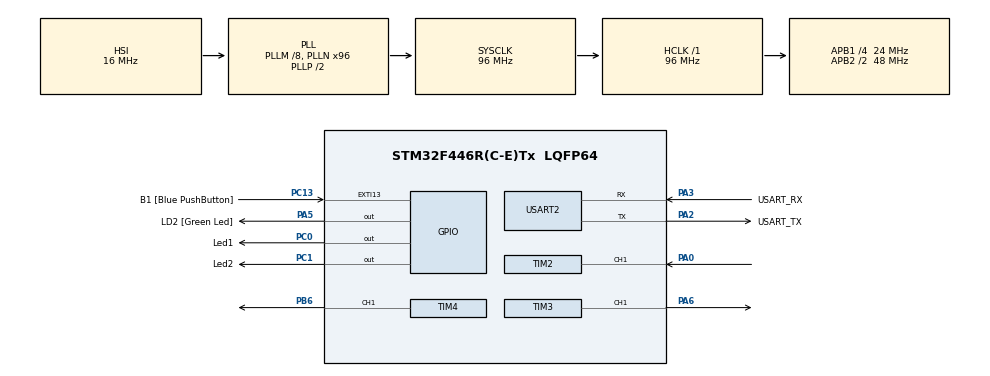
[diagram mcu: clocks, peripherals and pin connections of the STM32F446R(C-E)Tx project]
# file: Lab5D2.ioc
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Mcu.Family=STM32F4
Mcu.Name=STM32F446R(C-E)Tx
Mcu.Package=LQFP64
NVIC.PriorityGroup=NVIC_PRIORITYGROUP_0
NVIC.TIM2_IRQn=true\:0\:0\:false\:false\:true\:true\:true\:true
NVIC.TIM3_IRQn=true\:0\:0\:false\:false\:true\:true\:true\:true
NVIC.TIM4_IRQn=true\:0\:0\:false\:false\:true\:true\:true\:true
PA0-WKUP.Signal=S_TIM2_CH1_ETR
PA13.GPIO_Label=TMS
PA13.Mode=Serial_Wire
PA13.Signal=SYS_JTMS-SWDIO
PA14.GPIO_Label=TCK
PA14.Mode=Serial_Wire
PA14.Signal=SYS_JTCK-SWCLK
PA2.GPIO_Label=USART_TX
PA2.Mode=Asynchronous
PA2.Signal=USART2_TX
PA3.GPIO_Label=USART_RX
PA3.Mode=Asynchronous
PA3.Signal=USART2_RX
PA5.GPIO_Label=LD2 [Green Led]
PA5.Signal=GPIO_Output
PA6.Signal=S_TIM3_CH1
PB3.GPIO_Label=SWO
PB3.Signal=SYS_JTDO-SWO
PB6.Signal=S_TIM4_CH1
PC0.GPIO_Label=Led1
PC0.Signal=GPIO_Output
PC1.GPIO_Label=Led2
PC1.Signal=GPIO_Output
PC13.GPIO_Label=B1 [Blue PushButton]
PC13.GPIO_ModeDefaultEXTI=GPIO_MODE_IT_FALLING
PC13.Signal=GPXTI13
PC14-OSC32_IN.Mode=LSE-External-Oscillator
PC14-OSC32_IN.Signal=RCC_OSC32_IN
PC15-OSC32_OUT.Mode=LSE-External-Oscillator
PC15-OSC32_OUT.Signal=RCC_OSC32_OUT
PH0-OSC_IN.Mode=HSE-External-Oscillator
PH0-OSC_IN.Signal=RCC_OSC_IN
PH1-OSC_OUT.Mode=HSE-External-Oscillator
PH1-OSC_OUT.Signal=RCC_OSC_OUT
ProjectManager.HeapSize=0x200
ProjectManager.StackSize=0x400
ProjectManager.TargetToolchain=STM32CubeIDE
RCC.48MHZClocksFreq_Value=84000000
RCC.AHBFreq_Value=96000000
RCC.APB1CLKDivider=RCC_HCLK_DIV4
RCC.APB1Freq_Value=24000000
RCC.APB1TimFreq_Value=48000000
RCC.APB2CLKDivider=RCC_HCLK_DIV2
RCC.APB2Freq_Value=48000000
RCC.APB2TimFreq_Value=96000000
RCC.CortexFreq_Value=96000000
RCC.FLatency-AdvancedSettings=FLASH_LATENCY_3
RCC.HCLKFreq_Value=96000000
RCC.HSE_VALUE=8000000
RCC.HSI_VALUE=16000000
RCC.PLLM=8
RCC.PLLN=96
RCC.SYSCLKFreq_VALUE=96000000
RCC.SYSCLKSource=RCC_SYSCLKSOURCE_PLLCLK
RCC.USBFreq_Value=96000000
RCC.VCOOutputFreq_Value=192000000
SH.S_TIM2_CH1_ETR.0=TIM2_CH1,Input_Capture1_from_TI1
SH.S_TIM3_CH1.0=TIM3_CH1,PWM Generation1 CH1
SH.S_TIM4_CH1.0=TIM4_CH1,PWM Generation1 CH1
TIM2.Channel-Input_Capture1_from_TI1=TIM_CHANNEL_1
TIM2.CounterMode=TIM_COUNTERMODE_UP
TIM2.Prescaler=48-1
TIM3.AutoReloadPreload=TIM_AUTORELOAD_PRELOAD_ENABLE
TIM3.Channel-PWM\ Generation1\ CH1=TIM_CHANNEL_1
TIM3.Period=4999
TIM3.Prescaler=4799
TIM3.Pulse-PWM\ Generation1\ CH1=2500
TIM4.AutoReloadPreload=TIM_AUTORELOAD_PRELOAD_ENABLE
TIM4.Channel-PWM\ Generation1\ CH1=TIM_CHANNEL_1
TIM4.Period=19999
TIM4.Prescaler=4799
TIM4.Pulse-PWM\ Generation1\ CH1=10000
USART2.VirtualMode=VM_ASYNC
VP_TIM2_VS_ClockSourceINT.Mode=Internal
VP_TIM3_VS_ClockSourceINT.Mode=Internal
VP_TIM4_VS_ClockSourceINT.Mode=Internal
board=NUCLEO-F446RE

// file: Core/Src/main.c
/* USER CODE BEGIN Header */
/**
  ******************************************************************************
  * @file           : main.c
  * @brief          : Main program body
  ******************************************************************************
  * @attention
  *
  * Copyright (c) 2026 STMicroelectronics.
  * All rights reserved.
  *
  * This software is licensed under terms that can be found in the LICENSE file
  * in the root directory of this software component.
  * If no LICENSE file comes with this software, it is provided AS-IS.
  *
  ******************************************************************************
  */
/* USER CODE END Header */
#include "main.h"

/* USER CODE BEGIN Includes */
#include <stdio.h>
#include <string.h>
/* USER CODE END Includes */

/* USER CODE BEGIN PTD */
#define ftimclk 1000000
/* USER CODE END PTD */

TIM_HandleTypeDef htim2;
TIM_HandleTypeDef htim3;
TIM_HandleTypeDef htim4;

UART_HandleTypeDef huart2;

/* USER CODE BEGIN PV */
uint8_t flagMedicion = 0;
volatile uint32_t flanco1 = 0;
volatile uint32_t flanco2 = 0;
volatile uint8_t numFlanco = 0;

volatile uint32_t delta = 0;
float frecuencia = 0;
uint32_t clk = 1000000;

uint8_t buffer[10];
uint8_t dt = 80;
uint8_t datA[20];

/* USER CODE END PV */

void SystemClock_Config(void);
static void MX_GPIO_Init(void);
static void MX_TIM2_Init(void);
static void MX_USART2_UART_Init(void);
static void MX_TIM3_Init(void);
static void MX_TIM4_Init(void);

int main(void)
{

  /* MCU Configuration--------------------------------------------------------*/

  /* Reset of all peripherals, Initializes the Flash interface and the Systick. */
  HAL_Init();

  /* Configure the system clock */
  SystemClock_Config();

  /* Initialize all configured peripherals */
  MX_GPIO_Init();
  MX_TIM2_Init();
  MX_USART2_UART_Init();
  MX_TIM3_Init();
  MX_TIM4_Init();
  /* USER CODE BEGIN 2 */
  HAL_TIM_IC_Start_IT(&htim2, TIM_CHANNEL_1);
  HAL_TIM_PWM_Start(&htim3, TIM_CHANNEL_1);
  HAL_TIM_PWM_Start(&htim4, TIM_CHANNEL_1);
  /* USER CODE END 2 */

  /* Infinite loop */
  /* USER CODE BEGIN WHILE */
  while (1)
  {

	  	  while(flagMedicion == 0);
	  	  flagMedicion = 0;
	  	  delta = flanco2 - flanco1;
	  	  frecuencia = clk /(float) delta;

	  	  sprintf(datA, "%f\n",frecuencia);
	  	  HAL_UART_Transmit(&huart2, datA,strlen(datA),1000);
	  	  HAL_TIM_IC_Start_IT(&htim2, TIM_CHANNEL_1);

    /* USER CODE END WHILE */

  }
}

void SystemClock_Config(void)
{
  RCC_OscInitTypeDef RCC_OscInitStruct = {0};
  RCC_ClkInitTypeDef RCC_ClkInitStruct = {0};

  /** Configure the main internal regulator output voltage
  */
  __HAL_RCC_PWR_CLK_ENABLE();
  __HAL_PWR_VOLTAGESCALING_CONFIG(PWR_REGULATOR_VOLTAGE_SCALE3);

  /** Initializes the RCC Oscillators according to the specified parameters
  * in the RCC_OscInitTypeDef structure.
  */
  RCC_OscInitStruct.OscillatorType = RCC_OSCILLATORTYPE_HSI;
  RCC_OscInitStruct.HSIState = RCC_HSI_ON;
  RCC_OscInitStruct.HSICalibrationValue = RCC_HSICALIBRATION_DEFAULT;
  RCC_OscInitStruct.PLL.PLLState = RCC_PLL_ON;
  RCC_OscInitStruct.PLL.PLLSource = RCC_PLLSOURCE_HSI;
  RCC_OscInitStruct.PLL.PLLM = 8;
  RCC_OscInitStruct.PLL.PLLN = 96;
  RCC_OscInitStruct.PLL.PLLP = RCC_PLLP_DIV2;
  RCC_OscInitStruct.PLL.PLLQ = 2;
  RCC_OscInitStruct.PLL.PLLR = 2;
  if (HAL_RCC_OscConfig(&RCC_OscInitStruct) != HAL_OK)
  {
    Error_Handler();
  }

  /** Initializes the CPU, AHB and APB buses clocks
  */
  RCC_ClkInitStruct.ClockType = RCC_CLOCKTYPE_HCLK|RCC_CLOCKTYPE_SYSCLK
                              |RCC_CLOCKTYPE_PCLK1|RCC_CLOCKTYPE_PCLK2;
  RCC_ClkInitStruct.SYSCLKSource = RCC_SYSCLKSOURCE_PLLCLK;
  RCC_ClkInitStruct.AHBCLKDivider = RCC_SYSCLK_DIV1;
  RCC_ClkInitStruct.APB1CLKDivider = RCC_HCLK_DIV4;
  RCC_ClkInitStruct.APB2CLKDivider = RCC_HCLK_DIV2;

  if (HAL_RCC_ClockConfig(&RCC_ClkInitStruct, FLASH_LATENCY_3) != HAL_OK)
  {
    Error_Handler();
  }
}

static void MX_TIM2_Init(void)
{

  TIM_ClockConfigTypeDef sClockSourceConfig = {0};
  TIM_MasterConfigTypeDef sMasterConfig = {0};
  TIM_IC_InitTypeDef sConfigIC = {0};

  htim2.Instance = TIM2;
  htim2.Init.Prescaler = 48-1;
  htim2.Init.CounterMode = TIM_COUNTERMODE_UP;
  htim2.Init.Period = 4294967295;
  htim2.Init.ClockDivision = TIM_CLOCKDIVISION_DIV1;
  htim2.Init.AutoReloadPreload = TIM_AUTORELOAD_PRELOAD_DISABLE;
  if (HAL_TIM_Base_Init(&htim2) != HAL_OK)
  {
    Error_Handler();
  }
  sClockSourceConfig.ClockSource = TIM_CLOCKSOURCE_INTERNAL;
  if (HAL_TIM_ConfigClockSource(&htim2, &sClockSourceConfig) != HAL_OK)
  {
    Error_Handler();
  }
  if (HAL_TIM_IC_Init(&htim2) != HAL_OK)
  {
    Error_Handler();
  }
  sMasterConfig.MasterOutputTrigger = TIM_TRGO_RESET;
  sMasterConfig.MasterSlaveMode = TIM_MASTERSLAVEMODE_DISABLE;
  if (HAL_TIMEx_MasterConfigSynchronization(&htim2, &sMasterConfig) != HAL_OK)
  {
    Error_Handler();
  }
  sConfigIC.ICPolarity = TIM_INPUTCHANNELPOLARITY_RISING;
  sConfigIC.ICSelection = TIM_ICSELECTION_DIRECTTI;
  sConfigIC.ICPrescaler = TIM_ICPSC_DIV1;
  sConfigIC.ICFilter = 0;
  if (HAL_TIM_IC_ConfigChannel(&htim2, &sConfigIC, TIM_CHANNEL_1) != HAL_OK)
  {
    Error_Handler();
  }

}

static void MX_TIM3_Init(void)
{

  TIM_ClockConfigTypeDef sClockSourceConfig = {0};
  TIM_MasterConfigTypeDef sMasterConfig = {0};
  TIM_OC_InitTypeDef sConfigOC = {0};

  htim3.Instance = TIM3;
  htim3.Init.Prescaler = 4799;
  htim3.Init.CounterMode = TIM_COUNTERMODE_UP;
  htim3.Init.Period = 4999;
  htim3.Init.ClockDivision = TIM_CLOCKDIVISION_DIV1;
  htim3.Init.AutoReloadPreload = TIM_AUTORELOAD_PRELOAD_ENABLE;
  if (HAL_TIM_Base_Init(&htim3) != HAL_OK)
  {
    Error_Handler();
  }
  sClockSourceConfig.ClockSource = TIM_CLOCKSOURCE_INTERNAL;
  if (HAL_TIM_ConfigClockSource(&htim3, &sClockSourceConfig) != HAL_OK)
  {
    Error_Handler();
  }
  if (HAL_TIM_PWM_Init(&htim3) != HAL_OK)
  {
    Error_Handler();
  }
  sMasterConfig.MasterOutputTrigger = TIM_TRGO_RESET;
  sMasterConfig.MasterSlaveMode = TIM_MASTERSLAVEMODE_DISABLE;
  if (HAL_TIMEx_MasterConfigSynchronization(&htim3, &sMasterConfig) != HAL_OK)
  {
    Error_Handler();
  }
  sConfigOC.OCMode = TIM_OCMODE_PWM1;
  sConfigOC.Pulse = 2500;
  sConfigOC.OCPolarity = TIM_OCPOLARITY_HIGH;
  sConfigOC.OCFastMode = TIM_OCFAST_DISABLE;
  if (HAL_TIM_PWM_ConfigChannel(&htim3, &sConfigOC, TIM_CHANNEL_1) != HAL_OK)
  {
    Error_Handler();
  }
  HAL_TIM_MspPostInit(&htim3);

}

static void MX_TIM4_Init(void)
{

  TIM_ClockConfigTypeDef sClockSourceConfig = {0};
  TIM_MasterConfigTypeDef sMasterConfig = {0};
  TIM_OC_InitTypeDef sConfigOC = {0};

  htim4.Instance = TIM4;
  htim4.Init.Prescaler = 4799;
  htim4.Init.CounterMode = TIM_COUNTERMODE_UP;
  htim4.Init.Period = 19999;
  htim4.Init.ClockDivision = TIM_CLOCKDIVISION_DIV1;
  htim4.Init.AutoReloadPreload = TIM_AUTORELOAD_PRELOAD_ENABLE;
  if (HAL_TIM_Base_Init(&htim4) != HAL_OK)
  {
    Error_Handler();
  }
  sClockSourceConfig.ClockSource = TIM_CLOCKSOURCE_INTERNAL;
  if (HAL_TIM_ConfigClockSource(&htim4, &sClockSourceConfig) != HAL_OK)
  {
    Error_Handler();
  }
  if (HAL_TIM_PWM_Init(&htim4) != HAL_OK)
  {
    Error_Handler();
  }
  sMasterConfig.MasterOutputTrigger = TIM_TRGO_RESET;
  sMasterConfig.MasterSlaveMode = TIM_MASTERSLAVEMODE_DISABLE;
  if (HAL_TIMEx_MasterConfigSynchronization(&htim4, &sMasterConfig) != HAL_OK)
  {
    Error_Handler();
  }
  sConfigOC.OCMode = TIM_OCMODE_PWM1;
  sConfigOC.Pulse = 10000;
  sConfigOC.OCPolarity = TIM_OCPOLARITY_HIGH;
  sConfigOC.OCFastMode = TIM_OCFAST_DISABLE;
  if (HAL_TIM_PWM_ConfigChannel(&htim4, &sConfigOC, TIM_CHANNEL_1) != HAL_OK)
  {
    Error_Handler();
  }
  HAL_TIM_MspPostInit(&htim4);

}

static void MX_USART2_UART_Init(void)
{

  huart2.Instance = USART2;
  huart2.Init.BaudRate = 115200;
  huart2.Init.WordLength = UART_WORDLENGTH_8B;
  huart2.Init.StopBits = UART_STOPBITS_1;
  huart2.Init.Parity = UART_PARITY_NONE;
  huart2.Init.Mode = UART_MODE_TX_RX;
  huart2.Init.HwFlowCtl = UART_HWCONTROL_NONE;
  huart2.Init.OverSampling = UART_OVERSAMPLING_16;
  if (HAL_UART_Init(&huart2) != HAL_OK)
  {
    Error_Handler();
  }

}

static void MX_GPIO_Init(void)
{
  GPIO_InitTypeDef GPIO_InitStruct = {0};

  /* GPIO Ports Clock Enable */
  __HAL_RCC_GPIOC_CLK_ENABLE();
  __HAL_RCC_GPIOH_CLK_ENABLE();
  __HAL_RCC_GPIOA_CLK_ENABLE();
  __HAL_RCC_GPIOB_CLK_ENABLE();

  /*Configure GPIO pin Output Level */
  HAL_GPIO_WritePin(GPIOC, Led1_Pin|Led2_Pin, GPIO_PIN_RESET);

  /*Configure GPIO pin Output Level */
  HAL_GPIO_WritePin(LD2_GPIO_Port, LD2_Pin, GPIO_PIN_RESET);

  /*Configure GPIO pin : B1_Pin */
  GPIO_InitStruct.Pin = B1_Pin;
  GPIO_InitStruct.Mode = GPIO_MODE_IT_FALLING;
  GPIO_InitStruct.Pull = GPIO_NOPULL;
  HAL_GPIO_Init(B1_GPIO_Port, &GPIO_InitStruct);

  /*Configure GPIO pins : Led1_Pin Led2_Pin */
  GPIO_InitStruct.Pin = Led1_Pin|Led2_Pin;
  GPIO_InitStruct.Mode = GPIO_MODE_OUTPUT_PP;
  GPIO_InitStruct.Pull = GPIO_NOPULL;
  GPIO_InitStruct.Speed = GPIO_SPEED_FREQ_LOW;
  HAL_GPIO_Init(GPIOC, &GPIO_InitStruct);

  /*Configure GPIO pin : LD2_Pin */
  GPIO_InitStruct.Pin = LD2_Pin;
  GPIO_InitStruct.Mode = GPIO_MODE_OUTPUT_PP;
  GPIO_InitStruct.Pull = GPIO_NOPULL;
  GPIO_InitStruct.Speed = GPIO_SPEED_FREQ_LOW;
  HAL_GPIO_Init(LD2_GPIO_Port, &GPIO_InitStruct);

}

/* USER CODE BEGIN 4 */
void HAL_TIM_IC_CaptureCallback(TIM_HandleTypeDef *htim)
{
	if(numFlanco == 0) {
		flanco1 = HAL_TIM_ReadCapturedValue(htim, TIM_CHANNEL_1);
		numFlanco = 1;
	}
	else {
		flanco2 = HAL_TIM_ReadCapturedValue(htim, TIM_CHANNEL_1);
		HAL_TIM_IC_Stop(&htim2, TIM_CHANNEL_1);
		numFlanco = 0;
		flagMedicion = 1;
	}
}
/* USER CODE END 4 */

void Error_Handler(void)
{
  __disable_irq();
  while (1)
  {
  }
}
